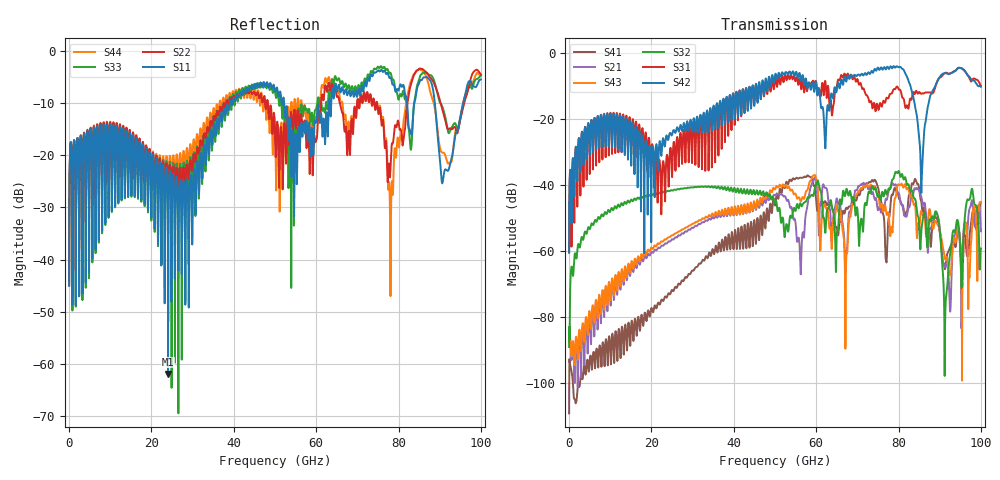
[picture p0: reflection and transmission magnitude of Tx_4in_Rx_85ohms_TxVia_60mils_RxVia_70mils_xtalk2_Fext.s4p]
! Info: Touchstone file created by Circ.  Input file=Tx_4in_Rx_85ohms_TxVia_60mils_RxVia_70mils.circ
# Hz S RI R 50
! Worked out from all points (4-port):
!   10000 points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, 10 MHz to 100 GHz, reference 50 ohm
!   strongest paths, dB at 10 MHz, 25.01 GHz, 50.01 GHz, 75.01 GHz, 100 GHz:
!     S42: -60.4, -24.7, -6.7, -4.4, -10.0
!     S31: -60.4, -37.5, -8.1, -16.6, -10.1
!     S32: -89.0, -41.6, -45.4, -43.5, -59.2
!     S43: -86.5, -55.2, -41.3, -43.1, -45.3
!     S21: -86.5, -56.3, -43.1, -47.6, -53.9
!     S41: -109.1, -71.7, -46.1, -40.6, -45.2
!   lowest |S11| = -61.9 dB at 24.04 GHz (marker M1), VSWR 1.00, Z = 50 - j0.0799 ohm
!   |S11| at or under -10 dB: start of sweep to 39.08 GHz; 52.21 GHz to 63.08 GHz (10.87 GHz wide, 18.9 % of centre); 88.81 GHz to 95.73 GHz (6.925 GHz wide, 7.5 % of centre)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
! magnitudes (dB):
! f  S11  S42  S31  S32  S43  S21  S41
! 10 MHz  -45.0  -60.4  -60.4  -89.0  -86.5  -86.5  -109.1
! 24.04 GHz  -61.9  -26.3  -35.2  -41.7  -55.8  -57.1  -72.9
! 54.76 GHz  -21.6  -6.9  -7.6  -47.2  -42.6  -50.1  -38.2
! 80.73 GHz  -6.8  -4.6  -12.5  -36.8  -39.5  -45.7  -45.8
! 85.59 GHz  -5.7  -40.4  -12.2  -53.1  -48.0  -43.8  -45.5
! 92.43 GHz  -22.1  -6.2  -6.2  -61.7  -67.2  -76.4  -59.0
! 100 GHz  -5.5  -10.0  -10.1  -59.2  -45.3  -53.9  -45.2
